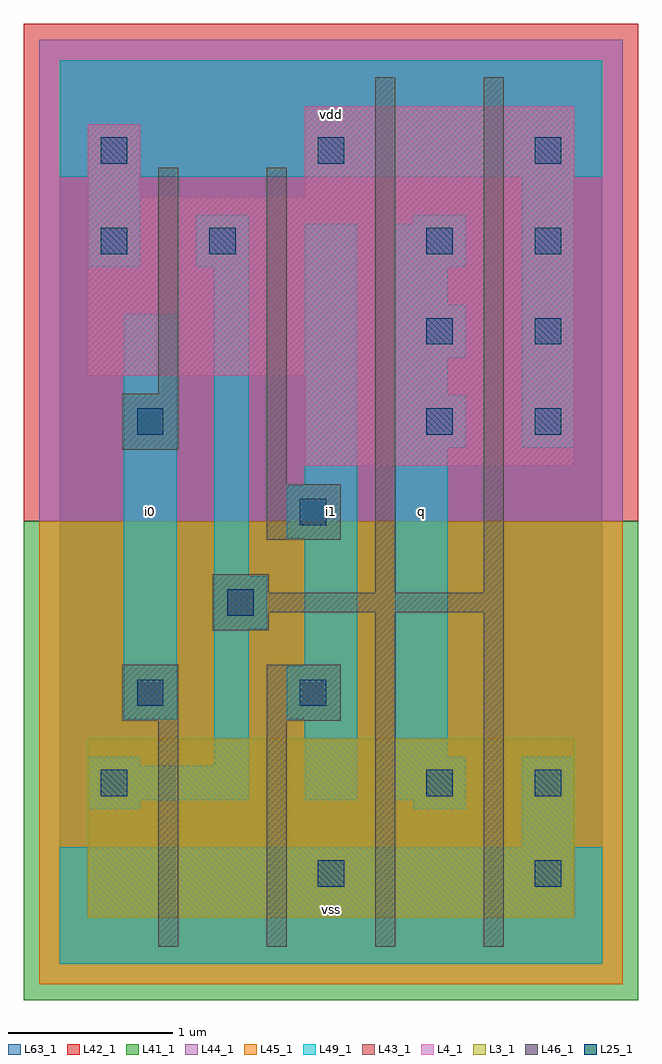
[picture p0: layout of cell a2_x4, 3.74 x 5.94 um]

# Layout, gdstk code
import gdstk
lib = gdstk.Library(unit=1e-6, precision=1e-09)
def R(c, l, rs):  # rectangles x0, y0, x1, y1
    for r in rs: c.add(gdstk.rectangle(r[:2], r[2:], *l))
def A(c, l, x, y, w, h, nx, ny, dx, dy):  # array of equal rectangles
    R(c, l, [(x+i*dx, y+j*dy, x+i*dx+w, y+j*dy+h) for i in range(nx) for j in range(ny)])
L3_1 = (3, 1)
L4_1 = (4, 1)
L25_1 = (25, 1)
L41_1 = (41, 1)
L42_1 = (42, 1)
L43_1 = (43, 1)
L44_1 = (44, 1)
L45_1 = (45, 1)
L46_1 = (46, 1)
L49_1 = (49, 1)
L63_1 = (63, 1)

a2_x4 = lib.new_cell('a2_x4')
R(a2_x4, L3_1, [(0.17,0.28,3.13,1.37)])
R(a2_x4, L4_1, [(1.49,3.03,3.13,3.58), (0.17,3.58,3.13,4.67), (0.17,4.67,0.49,5.11), (1.49,4.67,3.13,5.22)])
A(a2_x4, L25_1, 2.23, 3.22, 0.16, 0.16, 1, 3, 0, 0.55)
A(a2_x4, L25_1, 2.89, 3.22, 0.16, 0.16, 1, 3, 0, 0.55)
A(a2_x4, L25_1, 0.25, 4.87, 0.16, 0.16, 3, 1, 1.32, 0)
R(a2_x4, L25_1, [(1.57,0.47,1.73,0.63), (2.89,0.47,3.05,0.63), (0.25,1.02,0.41,1.18), (2.23,1.02,2.39,1.18), (2.89,1.02,3.05,1.18), (0.47,1.57,0.63,1.73), (1.46,1.57,1.62,1.73), (1.02,2.12,1.18,2.28), (1.46,2.67,1.62,2.83), (0.47,3.22,0.63,3.38), (0.25,4.32,0.41,4.48), (0.91,4.32,1.07,4.48)])
R(a2_x4, L41_1, [(-0.22,-0.22,3.52,2.695)])
R(a2_x4, L42_1, [(-0.22,2.695,3.52,5.72)])
R(a2_x4, L43_1, [(0.17,0.28,3.13,1.37), (1.49,3.03,3.13,3.58), (0.17,3.58,3.13,4.67), (0.17,4.67,0.49,5.11), (1.49,4.67,3.13,5.22)])
R(a2_x4, L44_1, [(-0.125,2.695,3.425,5.625)])
R(a2_x4, L45_1, [(-0.125,-0.125,3.425,2.695)])
R(a2_x4, L46_1, [(0.6,0.105,0.72,1.48), (1.26,0.105,1.38,1.48), (1.92,0.105,2.04,2.14), (2.58,0.105,2.7,2.14), (0.38,1.48,0.72,1.82), (1.26,1.48,1.71,1.82), (0.93,2.03,1.27,2.14), (0.93,2.14,2.7,2.26), (0.93,2.26,1.27,2.37), (1.92,2.26,2.04,5.395), (2.58,2.26,2.7,5.395), (1.26,2.58,1.71,2.92), (1.26,2.92,1.38,4.845), (0.38,3.13,0.72,3.47), (0.6,3.47,0.72,4.845)])
R(a2_x4, L49_1, [(0,0,3.3,0.71), (2.81,0.71,3.13,1.26), (0.17,0.94,0.49,0.995), (2.15,0.94,2.47,0.995), (0.17,0.995,1.15,1.205), (1.49,0.995,1.81,1.49), (2.04,0.995,2.47,1.26), (0.17,1.205,0.49,1.26), (0.94,1.205,1.15,2.04), (2.04,1.26,2.36,3.14), (0.39,1.49,0.71,3.955), (1.38,1.49,1.81,1.81), (1.49,1.81,1.81,2.59), (0.94,2.04,1.26,2.36), (0.94,2.36,1.15,4.24), (1.38,2.59,1.81,2.91), (1.49,2.91,1.81,4.505), (2.04,3.14,2.47,3.46), (2.81,3.14,3.13,4.79), (2.04,3.46,2.36,3.69), (2.04,3.69,2.47,4.01), (2.04,4.01,2.36,4.24), (0.17,4.24,0.49,4.79), (0.83,4.24,1.15,4.56), (2.04,4.24,2.47,4.505), (2.15,4.505,2.47,4.56), (0,4.79,3.3,5.5)])
R(a2_x4, L63_1, [(0,0,3.3,5.5)])
a2_x4.add(gdstk.Label('i0', (0.55,2.75), layer=49, texttype=1))
a2_x4.add(gdstk.Label('i0', (0.55,2.75), layer=49, texttype=1))
a2_x4.add(gdstk.Label('vss', (1.65,0.33), layer=49, texttype=1))
a2_x4.add(gdstk.Label('vss', (1.65,0.33), layer=49, texttype=1))
a2_x4.add(gdstk.Label('q', (2.2,2.75), layer=49, texttype=1))
a2_x4.add(gdstk.Label('q', (2.2,2.75), layer=49, texttype=1))
a2_x4.add(gdstk.Label('i1', (1.65,2.75), layer=49, texttype=1))
a2_x4.add(gdstk.Label('i1', (1.65,2.75), layer=49, texttype=1))
a2_x4.add(gdstk.Label('vdd', (1.65,5.17), layer=49, texttype=1))
a2_x4.add(gdstk.Label('vdd', (1.65,5.17), layer=49, texttype=1))

lib.write_gds('a2_x4.gds')
